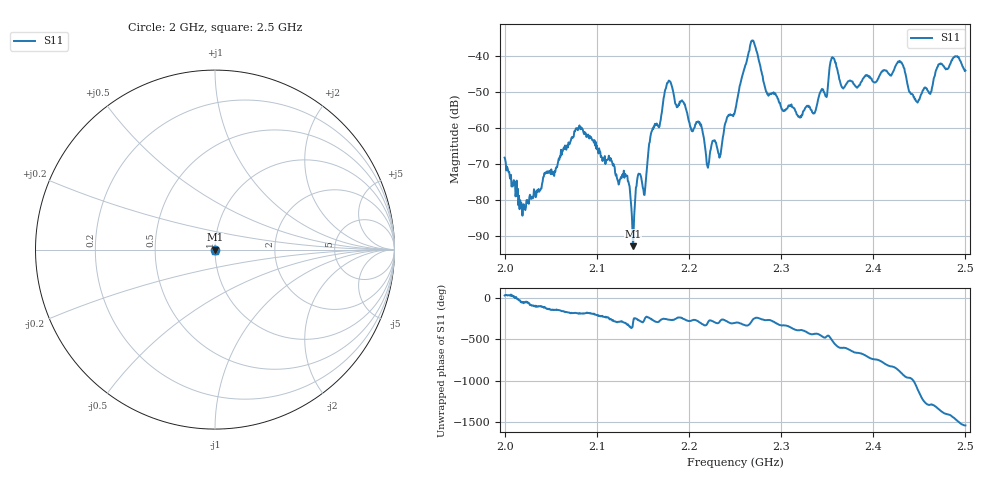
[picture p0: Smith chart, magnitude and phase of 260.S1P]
! C:\Users\rflab\Downloads\dp2_kdzw\260.S1P
! Touchstone 1.1 file saved by VNA.EXE V1.65 (www.ke5fx.com/gpib/readme.htm)
! 12/12/2024 7:21:29 PM
!  Source: HEWLETT PACKARD,8753D,0,6.14
!  Min freq: 2.000000E+009 Hz
!  Max freq: 2.500000E+009 Hz
!  Points: 801
!  Params: S21
# GHZ S MA R 50
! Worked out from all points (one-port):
!   801 points, 2 GHz to 2.5 GHz, reference 50 ohm
!   lowest |S11| = -92.8 dB at 2.139 GHz (marker M1), VSWR 1.00, Z = 50 + j0.002 ohm
!   |S11| at or under -10 dB: start of sweep to end of sweep
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2  0.00039 29.0
2.02375  0.0001 -45.5
2.0625  0.000467 -160.7
2.0825  0.000965 169.2
2.125  0.000193 73.9
2.139375  2.3e-05 60.4
2.145625  0.000234 87.9
2.151875  0.000118 101.4
2.15875  0.000832 109.3
2.17625  0.004218 101.9
2.1875  0.001968 119.4
2.211875  0.001177 61.6
2.220625  0.000282 64.3
2.23375  0.000413 79.5
2.25  0.001715 57.9
2.26875  0.01629 89.5
2.285  0.002969 94.2
2.3125  0.001961 -8.9
2.33625  0.001608 -73.0
2.34875  0.002747 -112.8
2.355625  0.009661 -157.4
2.36625  0.003661 116.9
2.375  0.00458 89.3
2.42875  0.008596 -166.3
2.4375  0.003887 118.6
2.448125  0.002267 -22.3
2.471875  0.007832 90.7
2.5  0.006299 -98.3
